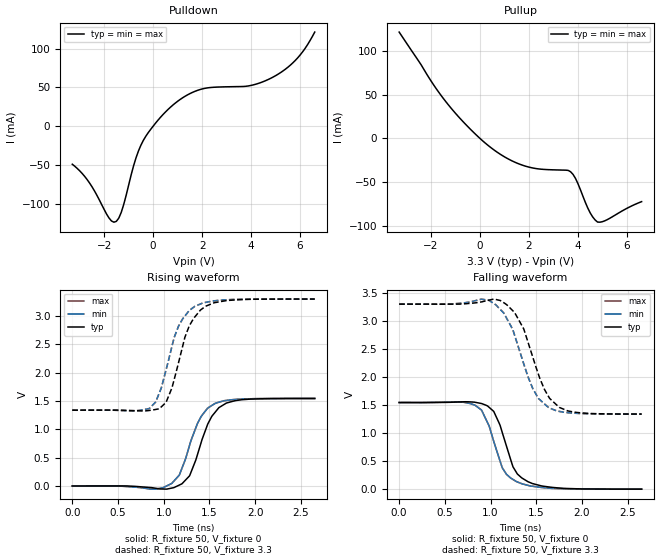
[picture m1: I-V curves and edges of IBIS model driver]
| IBIS file ex2_nomiller_tr200ps.ibs created by PYS2IBIS3
| Missouri S&T EMC Lab
[IBIS Ver] 7.1
[File Name] ex2_nomiller_tr200ps.ibs
[File Rev] 1.0
[Date] July 28, 2026
[Source] ex2 variant nomiller -- n4->out Miller caps removed
[Notes] Parameter selection; sim_time=2.653e-09, tr=tf=2.000e-10.
[Disclaimer] Experimental characterization for pybis observability study.
[Component] MCM Driver 1
[Manufacturer] MegaFLOPS Inc.
[Package]
| variable   typ   min   max
R_pkg 0 NA NA
L_pkg 0H NA NA
C_pkg 0F NA NA
[Pin]  signal_name   model_name   R_pin   L_pin   C_pin
vdd   vdd   POWER
gnd   gnd   GND
| in in dummy
out   out   driver
| End of Component
| Models and submodels in the file (1): driver (Output)
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[Model] driver
Model_type Output
Polarity Non-Inverting
Enable Active-Low
Vinl  = 0.8V
Vinh  = 2V
C_comp 5.0000pF 5.0000pF 5.0000pF
[Temperature Range] 27.0000 27.0000 27.0000
[Voltage Range] 3.3000V 3.3000V 3.3000V
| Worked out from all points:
|   slope of the pulldown table from 0 to 0.495 V, typ, clamps not added: 27.4 ohm
|   slope of the pullup table from 0 to 0.495 V, typ, clamps not added: 42.7 ohm
|   rising waveform, R_fixture 50, V_fixture 0: 20-80 % time 214ps typ, 215ps min, 215ps max; typ from 0 V to 1.54 V
|   rising waveform, R_fixture 50, V_fixture 3.3: 20-80 % time 218ps typ, 218ps min, 218ps max; typ from 1.34 V to 3.3 V
|   falling waveform, R_fixture 50, V_fixture 0: 20-80 % time 201ps typ, 203ps min, 203ps max; typ from 1.54 V to 0 V
|   falling waveform, R_fixture 50, V_fixture 3.3: 20-80 % time 260ps typ, 261ps min, 261ps max; typ from 3.3 V to 1.34 V
[Pulldown]
| Voltage   I(typ)   I(min)   I(max)
-3.3V     -48.93mA   -48.93mA   -48.93mA
-2.6V     -72.86mA   -72.86mA   -72.86mA
-1.8V     -118.2mA   -118.2mA   -118.2mA
-1.5V     -122.5mA   -122.5mA   -122.5mA
-1.3V     -110.9mA   -110.9mA   -110.9mA
-500mV    -24.59mA   -24.59mA   -24.59mA
600mV     21.34mA    21.34mA    21.34mA
1.9V      47.12mA    47.12mA    47.12mA
3.9V      51.99mA    51.99mA    51.99mA
4.9V      63.38mA    63.38mA    63.38mA
5.9V      87.99mA    87.99mA    87.99mA
6.6V      121.3mA    121.3mA    121.3mA
[Pullup]
| Voltage   I(typ)   I(min)   I(max)
-3.3V     122mA      122mA      122mA
-1.9V     61.75mA    61.75mA    61.75mA
-1.3V     38.86mA    38.86mA    38.86mA
-200mV    5.278mA    5.278mA    5.278mA
700mV     -15.75mA   -15.75mA   -15.75mA
2V        -32.92mA   -32.92mA   -32.92mA
3.7V      -38.24mA   -38.24mA   -38.24mA
3.9V      -45.89mA   -45.89mA   -45.89mA
4.5V      -85.43mA   -85.43mA   -85.43mA
4.8V      -95.97mA   -95.97mA   -95.97mA
5.1V      -94.48mA   -94.48mA   -94.48mA
6.6V      -72.53mA   -72.53mA   -72.53mA
[Ramp]
| variable   typ   min   max
dV/dt_r 0.9270/0.2145n 0.9270/0.2154n 0.9270/0.2154n
dV/dt_f 1.1766/0.2605n  1.1766/0.26n  1.1766/0.26n
R_load = 50
[Rising Waveform]
R_fixture = 50
V_fixture = 0
|time   V(typ)   V(min)   V(max)
0s        7.302nV    7.302nV    7.302nV
916.1ps   -41.76mV   -55.06mV   -55.06mV
1.11ns    -30.43mV   81.97mV    81.97mV
1.171ns   15.89mV    192.7mV    192.7mV
1.283ns   178.5mV    714.8mV    714.8mV
1.407ns   762.4mV    1.222V     1.222V
1.482ns   1.092V     1.376V     1.376V
1.564ns   1.307V     1.46V      1.46V
1.859ns   1.524V     1.535V     1.535V
2.653ns   1.545V     1.545V     1.545V
[Rising Waveform]
R_fixture = 50
V_fixture = 3.3
|time   V(typ)   V(min)   V(max)
0s        1.338V     1.338V     1.338V
796.6ps   1.325V     1.352V     1.352V
910.8ps   1.351V     1.48V      1.48V
953.2ps   1.366V     1.647V     1.647V
1.028ns   1.483V     2.056V     2.056V
1.16ns    2.163V     2.814V     2.814V
1.229ns   2.614V     2.995V     2.995V
1.338ns   2.98V      3.171V     3.171V
1.646ns   3.265V     3.283V     3.283V
2.653ns   3.3V       3.3V       3.3V
[Falling Waveform]
R_fixture = 50
V_fixture = 0
|time   V(typ)   V(min)   V(max)
0s        1.545V     1.545V     1.545V
762.1ps   1.557V     1.535V     1.535V
900.1ps   1.528V     1.412V     1.412V
963.9ps   1.488V     1.2V       1.2V
1.036ns   1.384V     847.7mV    847.7mV
1.129ns   1.008V     381.2mV    381.2mV
1.245ns   398.6mV    172.9mV    172.9mV
1.336ns   207.1mV    99.72mV    99.72mV
1.774ns   15.6mV     8.782mV    8.782mV
2.653ns   133.7uV    77.7uV     77.7uV
[Falling Waveform]
R_fixture = 50
V_fixture = 3.3
|time   V(typ)   V(min)   V(max)
0s        3.3V       3.3V       3.3V
900.1ps   3.338V     3.389V     3.389V
1.105ns   3.367V     3.208V     3.208V
1.243ns   3.183V     2.849V     2.849V
1.362ns   2.86V      2.239V     2.239V
1.482ns   2.253V     1.737V     1.737V
1.63ns    1.66V      1.458V     1.458V
1.75ns    1.46V      1.387V     1.387V
1.848ns   1.394V     1.364V     1.364V
2.653ns   1.339V     1.339V     1.339V
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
